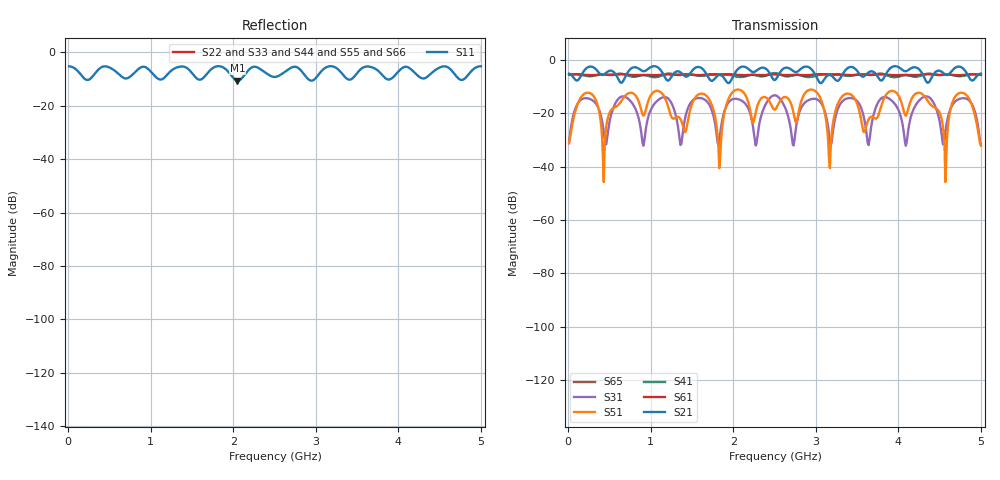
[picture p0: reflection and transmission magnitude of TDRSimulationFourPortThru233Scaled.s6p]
# MHz MA S R 50.0
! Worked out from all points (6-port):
!   500 points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, 10 MHz to 5 GHz, reference 50 ohm
!   strongest paths, dB at 10 MHz, 1.26 GHz, 2.51 GHz, 3.76 GHz, 5 GHz:
!     S21: -5.2, -5.9, -7.5, -6.8, -5.2
!     S61: -5.6, -5.6, -5.5, -5.5, -5.6
!     S41: -5.6, -5.3, -5.0, -5.2, -5.6
!     S51: -31.3, -21.9, -18.5, -20.6, -32.0
!     S31: -30.7, -16.9, -13.3, -15.7, -32.0
!     S65: -, -, -, -, -
!   lowest |S11| = -10.6 dB at 2.05 GHz (marker M1), VSWR 1.84, Z = 73.8 - j29.2 ohm
!   |S11| at or under -10 dB: 204 MHz to 260.9 MHz (56.89 MHz wide, 24.5 % of centre); 2.014 GHz to 2.092 GHz (78.52 MHz wide, 3.82 % of centre); 2.908 GHz to 2.986 GHz (78.52 MHz wide, 2.66 % of centre) (the widest 3 of 8)
